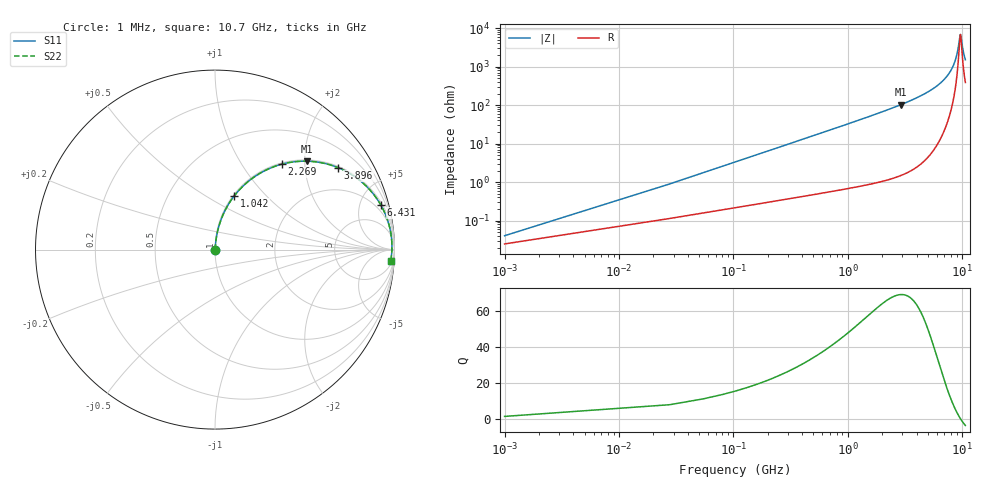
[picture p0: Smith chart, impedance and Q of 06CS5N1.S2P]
! Coilcraft 0603CS-5N1 Chip Inductor
! 21 May 2002
# MHZ S MA R 50
!Freq  MagS11  AngS11  MagS21  AngS21  MagS12  AngS12  MagS22  AngS22
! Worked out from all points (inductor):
!   403 points, 1 MHz to 10.7 GHz, reference 50 ohm
!   read as one part in series: L = 5.1 nH near 54.36 MHz
!   highest Q = 69.3 at 2.909 GHz (marker M1), where L = 5.61 nH
!   self-resonance near 9.688 GHz
!   S11 on the Smith chart (normalised r, x): 1 MHz: 1.00, +0.00; 1.042 GHz: 1.01, +0.68; 2.269 GHz: 1.02, +1.54; 3.896 GHz: 1.05, +2.98; 6.431 GHz: 1.26, +7.37; 10.7 GHz: 9, -29
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1  0.0004051 52.2  0.9998 -0.0  0.9998 -0.0  0.0004051 52.2
81.04  0.02598 84.3  0.9978 -1.5  0.9978 -1.5  0.02598 84.3
134.4  0.043 84.3  0.9966 -2.5  0.9966 -2.5  0.043 84.3
214.44  0.06845 83.5  0.9946 -3.9  0.9946 -3.9  0.06845 83.5
347.84  0.1106 81.6  0.99 -6.3  0.99 -6.3  0.1106 81.6
534.6  0.1686 78.7  0.9809 -9.7  0.9809 -9.7  0.1686 78.7
1041.52  0.318 70.3  0.9416 -18.5  0.9416 -18.5  0.318 70.3
1788.56  0.5068 58.6  0.8539 -30.4  0.8539 -30.4  0.5068 58.6
2268.8  0.6054 51.9  0.7869 -37.3  0.7869 -37.3  0.6054 51.9
2909.12  0.7106 43.9  0.6934 -45.3  0.6934 -45.3  0.7106 43.9
3576.12  0.793 36.7  0.5976 -52.5  0.5976 -52.5  0.793 36.7
3896.28  0.8244 33.6  0.5534 -55.5  0.5534 -55.5  0.8244 33.6
5363.68  0.9203 21.8  0.3712 -66.9  0.3712 -66.9  0.9203 21.8
6430.88  0.9567 15.0  0.2596 -73.0  0.2596 -73.0  0.9567 15.0
7151.24  0.9714 11.1  0.193 -76.0  0.193 -76.0  0.9714 11.1
8218.44  0.983 6.0  0.1051 -77.7  0.1051 -77.7  0.983 6.0
8938.8  0.9859 2.9  0.05266 -73.0  0.05266 -73.0  0.9859 2.9
9232.28  0.9861 1.8  0.03337 -64.5  0.03337 -64.5  0.9861 1.8
9579.12  0.9858 0.4  0.01585 -26.4  0.01585 -26.4  0.9858 0.4
9685.84  0.9856 0.0  0.01438 -0.4  0.01438 -0.4  0.9856 0.0
10246.12  0.9837 -2.0  0.03878 64.2  0.03878 64.2  0.9837 -2.0
10700  0.9813 -3.6  0.06502 71.5  0.06502 71.5  0.9813 -3.6
